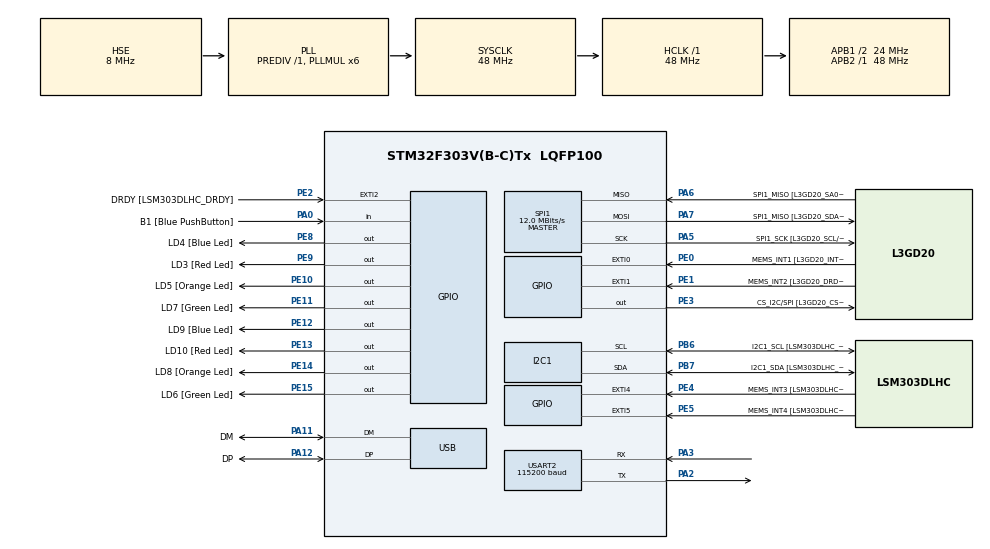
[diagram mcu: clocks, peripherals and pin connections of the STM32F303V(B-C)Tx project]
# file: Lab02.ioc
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I2C1.Timing=0x00201D2B
I2C1.Timing-I2C=0x2000090E
Mcu.Family=STM32F3
Mcu.Name=STM32F303V(B-C)Tx
Mcu.Package=LQFP100
NVIC.PriorityGroup=NVIC_PRIORITYGROUP_0
PA0.GPIO_Label=B1 [Blue PushButton]
PA0.Signal=GPIO_Input
PA11.GPIO_Label=DM
PA11.Mode=Device
PA11.Signal=USB_DM
PA12.GPIO_Label=DP
PA12.Mode=Device
PA12.Signal=USB_DP
PA13.GPIO_Label=SWDIO
PA13.Mode=Serial_Wire
PA13.Signal=SYS_JTMS-SWDIO
PA14.GPIO_Label=SWCLK
PA14.Mode=Serial_Wire
PA14.Signal=SYS_JTCK-SWCLK
PA2.Mode=Asynchronous
PA2.Signal=USART2_TX
PA3.Mode=Asynchronous
PA3.Signal=USART2_RX
PA5.GPIO_Label=SPI1_SCK [L3GD20_SCL/SPC]
PA5.Mode=Full_Duplex_Master
PA5.Signal=SPI1_SCK
PA6.GPIO_Label=SPI1_MISO [L3GD20_SA0/SDO]
PA6.Mode=Full_Duplex_Master
PA6.Signal=SPI1_MISO
PA7.GPIO_Label=SPI1_MISO [L3GD20_SDA/SDI/SDO]
PA7.Mode=Full_Duplex_Master
PA7.Signal=SPI1_MOSI
PB3.GPIO_Label=SWO
PB3.Signal=SYS_JTDO-TRACESWO
PB6.GPIO_Label=I2C1_SCL [LSM303DLHC_SCL]
PB6.GPIO_Pu=GPIO_PULLUP
PB6.Mode=I2C
PB6.Signal=I2C1_SCL
PB7.GPIO_Label=I2C1_SDA [LSM303DLHC_SDA]
PB7.GPIO_Pu=GPIO_PULLUP
PB7.Mode=I2C
PB7.Signal=I2C1_SDA
PC14-OSC32_IN.GPIO_Label=OSC32_IN
PC14-OSC32_IN.Signal=RCC_OSC32_IN
PC15-OSC32_OUT.GPIO_Label=OSC32_OUT
PC15-OSC32_OUT.Signal=RCC_OSC32_OUT
PE0.GPIO_Label=MEMS_INT1 [L3GD20_INT1]
PE0.GPIO_ModeDefaultEXTI=GPIO_MODE_EVT_RISING
PE0.Signal=GPXTI0
PE1.GPIO_Label=MEMS_INT2 [L3GD20_DRDY/INT2]
PE1.GPIO_ModeDefaultEXTI=GPIO_MODE_EVT_RISING
PE1.Signal=GPXTI1
PE10.GPIO_Label=LD5 [Orange Led]
PE10.Signal=GPIO_Output
PE11.GPIO_Label=LD7 [Green Led]
PE11.Signal=GPIO_Output
PE12.GPIO_Label=LD9 [Blue Led]
PE12.Signal=GPIO_Output
PE13.GPIO_Label=LD10 [Red Led]
PE13.Signal=GPIO_Output
PE14.GPIO_Label=LD8 [Orange Led]
PE14.Signal=GPIO_Output
PE15.GPIO_Label=LD6 [Green Led]
PE15.Signal=GPIO_Output
PE2.GPIO_Label=DRDY [LSM303DLHC_DRDY]
PE2.GPIO_ModeDefaultEXTI=GPIO_MODE_EVT_RISING
PE2.Signal=GPXTI2
PE3.GPIO_Label=CS_I2C/SPI [L3GD20_CS_I2C/SPI]
PE3.Signal=GPIO_Output
PE4.GPIO_Label=MEMS_INT3 [LSM303DLHC_INT1]
PE4.GPIO_ModeDefaultEXTI=GPIO_MODE_EVT_RISING
PE4.Signal=GPXTI4
PE5.GPIO_Label=MEMS_INT4 [LSM303DLHC_INT2]
PE5.GPIO_ModeDefaultEXTI=GPIO_MODE_EVT_RISING
PE5.Signal=GPXTI5
PE8.GPIO_Label=LD4 [Blue Led]
PE8.Signal=GPIO_Output
PE9.GPIO_Label=LD3 [Red Led]
PE9.Signal=GPIO_Output
PF0-OSC_IN.GPIO_Label=OSC_IN
PF0-OSC_IN.Mode=HSE-External-Clock-Source
PF0-OSC_IN.Signal=RCC_OSC_IN
PF1-OSC_OUT.GPIO_Label=OSC_OUT
PF1-OSC_OUT.Signal=RCC_OSC_OUT
ProjectManager.HeapSize=0x200
ProjectManager.StackSize=0x400
ProjectManager.TargetToolchain=CMake
RCC.AHBFreq_Value=48000000
RCC.APB1CLKDivider=RCC_HCLK_DIV2
RCC.APB1Freq_Value=24000000
RCC.APB1TimFreq_Value=48000000
RCC.APB2Freq_Value=48000000
RCC.APB2TimFreq_Value=48000000
RCC.CortexFreq_Value=48000000
RCC.HCLKFreq_Value=48000000
RCC.HSE_VALUE=8000000
RCC.HSI_VALUE=8000000
RCC.LSE_VALUE=32768
RCC.PLLMUL=RCC_PLL_MUL6
RCC.SYSCLKFreq_VALUE=48000000
RCC.SYSCLKSourceVirtual=RCC_SYSCLKSOURCE_PLLCLK
RCC.USBFreq_Value=48000000
SPI1.BaudRatePrescaler=SPI_BAUDRATEPRESCALER_4
SPI1.BaudRatePrescaler-Full_Duplex_Master=SPI_BAUDRATEPRESCALER_2
SPI1.CalculateBaudRate=12.0 MBits/s
SPI1.CalculateBaudRate-Full_Duplex_Master=24.0 MBits/s
SPI1.Direction=SPI_DIRECTION_2LINES
SPI1.Mode=SPI_MODE_MASTER
SPI1.Mode-Full_Duplex_Master=SPI_MODE_MASTER
SPI1.VirtualType=VM_MASTER
USART2.BaudRate=115200
USART2.VirtualMode-Asynchronous=VM_ASYNC
board=STM32F3DISCOVERY

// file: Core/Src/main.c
/* USER CODE BEGIN Header */
/**
  ******************************************************************************
  * @file           : main.c
  * @brief          : Main program body
  ******************************************************************************
  * @attention
  *
  * Copyright (c) 2026 STMicroelectronics.
  * All rights reserved.
  *
  * This software is licensed under terms that can be found in the LICENSE file
  * in the root directory of this software component.
  * If no LICENSE file comes with this software, it is provided AS-IS.
  *
  ******************************************************************************
  */
/* USER CODE END Header */
#include "main.h"
#include <string.h>
# include "stdarg.h"
# include "stdio.h"
#include "stdbool.h"
#include "math.h"

I2C_HandleTypeDef hi2c1;

SPI_HandleTypeDef hspi1;

UART_HandleTypeDef huart2;

PCD_HandleTypeDef hpcd_USB_FS;

void SystemClock_Config(void);
static void MX_GPIO_Init(void);
static void MX_I2C1_Init(void);
static void MX_SPI1_Init(void);
static void MX_USART2_UART_Init(void);
static void MX_USB_PCD_Init(void);

/* USER CODE BEGIN 0 */
void myPrintf(char *fmt,...){
      char buffer[100];
      va_list args;
      va_start(args, fmt);
      vsnprintf(buffer, sizeof(buffer), fmt, args);
      va_end(args);
      HAL_UART_Transmit(&huart2, (uint8_t*)buffer, strlen(buffer), HAL_MAX_DELAY);
    }

/* USER CODE END 0 */

int main(void)
{

  /* MCU Configuration--------------------------------------------------------*/

  /* Reset of all peripherals, Initializes the Flash interface and the Systick. */
  HAL_Init();

  /* Configure the system clock */
  SystemClock_Config();

  /* Initialize all configured peripherals */
  MX_GPIO_Init();
  MX_I2C1_Init();
  MX_SPI1_Init();
  MX_USART2_UART_Init();
  MX_USB_PCD_Init();
  /* USER CODE BEGIN 2 */

  //TASK 1

    int x = 42;
    int y = 3;
    myPrintf("Value of x = %d, y = %d\r\n", x, y);

  /* USER CODE END 2 */

  /* Infinite loop */
  while (1)
  {

    /* USER CODE BEGIN 3 */

    //TASK 0
    char name[]="Hello World!\r\n";
    HAL_UART_Transmit(&huart2,(uint8_t*)name,strlen(name),1000);
    HAL_Delay(1000);

      TASK 2
    int a=7, b=5;
    int LHS = (a + b) * (a + b);
    int RHS = a * a + b * b + 2 *a* b;
    myPrintf ("Value of a = %d, b = %d\r\n", a,  b);
    if (LHS == RHS) {
      myPrintf("The identity holds\r\n");
    } else
    {
      myPrintf("The identity does not hold\r\n");
    }
    HAL_Delay(1000);
    }

    //TASK3
  char str[]="Microcontrollers";
  char encrypted[50];
  char decrypted[50];
  int code = 10276; // Student ID
  int idx;
  for (idx = 0; str[idx] != '\0'; idx++) {
    encrypted[idx] = str[idx] + (code % 256);
  }
  encrypted[idx] = '\0';

  for (idx = 0; encrypted[idx] != '\0'; idx++) {
    decrypted[idx] = encrypted[idx] - (code % 256);
  }
  decrypted[idx] = '\0';
  myPrintf("Original: %s\r\n", str);

  myPrintf("Encrypted: %s\r\n", encrypted);

  myPrintf("Decrypted: %s\r\n", decrypted);

//Task 4

  int arr[4] = {2, 0, 0, 7};
  int arr2[4] = {12, 3, 7, 0};
  int result[4];

  for (int i = 0; i < 2; i++)
  {
    for (int j = 0; j < 2; j++)
    {
      result[i * 2 + j] = 0;
      for (int k = 0; k < 2; k++)
      {
        result[i * 2 + j] += arr[i * 2 + k] * arr2[k * 2 + j];
      }
    }
  }

  void matrix_print(int rows, int cols, const int *m)
  {
    for (int i = 0; i < rows; ++i)
    {
      for (int j = 0; j < cols; ++j)
      {
        myPrintf("%d ", m[i*cols + j]);
      }
      myPrintf("\r\n");
    }
  }

  myPrintf("Matrix A:\r\n");
  HAL_Delay(1000);
  matrix_print(2, 2, arr);
  HAL_Delay(1000);
  myPrintf("Matrix B:\r\n");
    HAL_Delay(1000);
  matrix_print(2, 2, arr2);
  HAL_Delay(1000);
  myPrintf("Result of A x B:\r\n");
    HAL_Delay(1000);
  matrix_print(2, 2, result);
    HAL_Delay(1000);

  //Task 5

  bool isArmstrong(int num)
  {
      int number, remainder, result = 0;
      number = num;

      while (number != 0)
      {
          remainder = number % 10;
          result += pow(remainder, 3);
          number /= 10;
      }

      return (result == num);
  }
  myPrintf("Armstrong Numbers between 100 and 999:\r\n");
    for (int i=100;i<1000;i++) {
        if (isArmstrong(i))
        {
            myPrintf("=%d\r\n", i);
            HAL_Delay(1000);
        }
    }
  }

  /* USER CODE END 3 */

}

void SystemClock_Config(void)
{
  RCC_OscInitTypeDef RCC_OscInitStruct = {0};
  RCC_ClkInitTypeDef RCC_ClkInitStruct = {0};
  RCC_PeriphCLKInitTypeDef PeriphClkInit = {0};

  /** Initializes the RCC Oscillators according to the specified parameters
  * in the RCC_OscInitTypeDef structure.
  */
  RCC_OscInitStruct.OscillatorType = RCC_OSCILLATORTYPE_HSI|RCC_OSCILLATORTYPE_HSE;
  RCC_OscInitStruct.HSEState = RCC_HSE_BYPASS;
  RCC_OscInitStruct.HSEPredivValue = RCC_HSE_PREDIV_DIV1;
  RCC_OscInitStruct.HSIState = RCC_HSI_ON;
  RCC_OscInitStruct.HSICalibrationValue = RCC_HSICALIBRATION_DEFAULT;
  RCC_OscInitStruct.PLL.PLLState = RCC_PLL_ON;
  RCC_OscInitStruct.PLL.PLLSource = RCC_PLLSOURCE_HSE;
  RCC_OscInitStruct.PLL.PLLMUL = RCC_PLL_MUL6;
  if (HAL_RCC_OscConfig(&RCC_OscInitStruct) != HAL_OK)
  {
    Error_Handler();
  }

  /** Initializes the CPU, AHB and APB buses clocks
  */
  RCC_ClkInitStruct.ClockType = RCC_CLOCKTYPE_HCLK|RCC_CLOCKTYPE_SYSCLK
                              |RCC_CLOCKTYPE_PCLK1|RCC_CLOCKTYPE_PCLK2;
  RCC_ClkInitStruct.SYSCLKSource = RCC_SYSCLKSOURCE_PLLCLK;
  RCC_ClkInitStruct.AHBCLKDivider = RCC_SYSCLK_DIV1;
  RCC_ClkInitStruct.APB1CLKDivider = RCC_HCLK_DIV2;
  RCC_ClkInitStruct.APB2CLKDivider = RCC_HCLK_DIV1;

  if (HAL_RCC_ClockConfig(&RCC_ClkInitStruct, FLASH_LATENCY_1) != HAL_OK)
  {
    Error_Handler();
  }
  PeriphClkInit.PeriphClockSelection = RCC_PERIPHCLK_USB|RCC_PERIPHCLK_USART2
                              |RCC_PERIPHCLK_I2C1;
  PeriphClkInit.Usart2ClockSelection = RCC_USART2CLKSOURCE_PCLK1;
  PeriphClkInit.I2c1ClockSelection = RCC_I2C1CLKSOURCE_HSI;
  PeriphClkInit.USBClockSelection = RCC_USBCLKSOURCE_PLL;
  if (HAL_RCCEx_PeriphCLKConfig(&PeriphClkInit) != HAL_OK)
  {
    Error_Handler();
  }
}

static void MX_I2C1_Init(void)
{

  hi2c1.Instance = I2C1;
  hi2c1.Init.Timing = 0x2000090E;
  hi2c1.Init.OwnAddress1 = 0;
  hi2c1.Init.AddressingMode = I2C_ADDRESSINGMODE_7BIT;
  hi2c1.Init.DualAddressMode = I2C_DUALADDRESS_DISABLE;
  hi2c1.Init.OwnAddress2 = 0;
  hi2c1.Init.OwnAddress2Masks = I2C_OA2_NOMASK;
  hi2c1.Init.GeneralCallMode = I2C_GENERALCALL_DISABLE;
  hi2c1.Init.NoStretchMode = I2C_NOSTRETCH_DISABLE;
  if (HAL_I2C_Init(&hi2c1) != HAL_OK)
  {
    Error_Handler();
  }

  /** Configure Analogue filter
  */
  if (HAL_I2CEx_ConfigAnalogFilter(&hi2c1, I2C_ANALOGFILTER_ENABLE) != HAL_OK)
  {
    Error_Handler();
  }

  /** Configure Digital filter
  */
  if (HAL_I2CEx_ConfigDigitalFilter(&hi2c1, 0) != HAL_OK)
  {
    Error_Handler();
  }

}

static void MX_SPI1_Init(void)
{

  /* SPI1 parameter configuration*/
  hspi1.Instance = SPI1;
  hspi1.Init.Mode = SPI_MODE_MASTER;
  hspi1.Init.Direction = SPI_DIRECTION_2LINES;
  hspi1.Init.DataSize = SPI_DATASIZE_4BIT;
  hspi1.Init.CLKPolarity = SPI_POLARITY_LOW;
  hspi1.Init.CLKPhase = SPI_PHASE_1EDGE;
  hspi1.Init.NSS = SPI_NSS_SOFT;
  hspi1.Init.BaudRatePrescaler = SPI_BAUDRATEPRESCALER_4;
  hspi1.Init.FirstBit = SPI_FIRSTBIT_MSB;
  hspi1.Init.TIMode = SPI_TIMODE_DISABLE;
  hspi1.Init.CRCCalculation = SPI_CRCCALCULATION_DISABLE;
  hspi1.Init.CRCPolynomial = 7;
  hspi1.Init.CRCLength = SPI_CRC_LENGTH_DATASIZE;
  hspi1.Init.NSSPMode = SPI_NSS_PULSE_ENABLE;
  if (HAL_SPI_Init(&hspi1) != HAL_OK)
  {
    Error_Handler();
  }

}

static void MX_USART2_UART_Init(void)
{

  huart2.Instance = USART2;
  huart2.Init.BaudRate = 115200;
  huart2.Init.WordLength = UART_WORDLENGTH_8B;
  huart2.Init.StopBits = UART_STOPBITS_1;
  huart2.Init.Parity = UART_PARITY_NONE;
  huart2.Init.Mode = UART_MODE_TX_RX;
  huart2.Init.HwFlowCtl = UART_HWCONTROL_NONE;
  huart2.Init.OverSampling = UART_OVERSAMPLING_16;
  huart2.Init.OneBitSampling = UART_ONE_BIT_SAMPLE_DISABLE;
  huart2.AdvancedInit.AdvFeatureInit = UART_ADVFEATURE_NO_INIT;
  if (HAL_UART_Init(&huart2) != HAL_OK)
  {
    Error_Handler();
  }

}

static void MX_USB_PCD_Init(void)
{

  hpcd_USB_FS.Instance = USB;
  hpcd_USB_FS.Init.dev_endpoints = 8;
  hpcd_USB_FS.Init.speed = PCD_SPEED_FULL;
  hpcd_USB_FS.Init.phy_itface = PCD_PHY_EMBEDDED;
  hpcd_USB_FS.Init.low_power_enable = DISABLE;
  hpcd_USB_FS.Init.battery_charging_enable = DISABLE;
  if (HAL_PCD_Init(&hpcd_USB_FS) != HAL_OK)
  {
    Error_Handler();
  }

}

static void MX_GPIO_Init(void)
{
  GPIO_InitTypeDef GPIO_InitStruct = {0};

  /* GPIO Ports Clock Enable */
  __HAL_RCC_GPIOE_CLK_ENABLE();
  __HAL_RCC_GPIOC_CLK_ENABLE();
  __HAL_RCC_GPIOF_CLK_ENABLE();
  __HAL_RCC_GPIOA_CLK_ENABLE();
  __HAL_RCC_GPIOB_CLK_ENABLE();

  /*Configure GPIO pin Output Level */
  HAL_GPIO_WritePin(GPIOE, CS_I2C_SPI_Pin|LD4_Pin|LD3_Pin|LD5_Pin
                          |LD7_Pin|LD9_Pin|LD10_Pin|LD8_Pin
                          |LD6_Pin, GPIO_PIN_RESET);

  /*Configure GPIO pins : DRDY_Pin MEMS_INT3_Pin MEMS_INT4_Pin MEMS_INT1_Pin
                           MEMS_INT2_Pin */
  GPIO_InitStruct.Pin = DRDY_Pin|MEMS_INT3_Pin|MEMS_INT4_Pin|MEMS_INT1_Pin
                          |MEMS_INT2_Pin;
  GPIO_InitStruct.Mode = GPIO_MODE_EVT_RISING;
  GPIO_InitStruct.Pull = GPIO_NOPULL;
  HAL_GPIO_Init(GPIOE, &GPIO_InitStruct);

  /*Configure GPIO pins : CS_I2C_SPI_Pin LD4_Pin LD3_Pin LD5_Pin
                           LD7_Pin LD9_Pin LD10_Pin LD8_Pin
                           LD6_Pin */
  GPIO_InitStruct.Pin = CS_I2C_SPI_Pin|LD4_Pin|LD3_Pin|LD5_Pin
                          |LD7_Pin|LD9_Pin|LD10_Pin|LD8_Pin
                          |LD6_Pin;
  GPIO_InitStruct.Mode = GPIO_MODE_OUTPUT_PP;
  GPIO_InitStruct.Pull = GPIO_NOPULL;
  GPIO_InitStruct.Speed = GPIO_SPEED_FREQ_LOW;
  HAL_GPIO_Init(GPIOE, &GPIO_InitStruct);

  /*Configure GPIO pin : B1_Pin */
  GPIO_InitStruct.Pin = B1_Pin;
  GPIO_InitStruct.Mode = GPIO_MODE_INPUT;
  GPIO_InitStruct.Pull = GPIO_NOPULL;
  HAL_GPIO_Init(B1_GPIO_Port, &GPIO_InitStruct);

}

void Error_Handler(void)
{
  __disable_irq();
  while (1)
  {
  }
}
